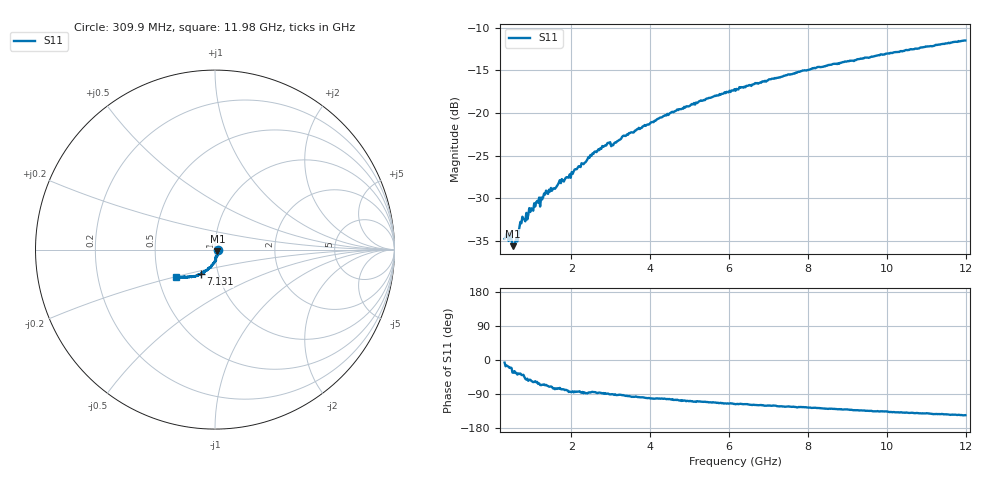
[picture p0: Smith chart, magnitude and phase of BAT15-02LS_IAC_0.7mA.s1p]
! Infineon Technologies  Discrete & RF Semiconductors
! BAT15-02ELS
! IAC = 0.7 mA
! One-Port S-Parameters
# Hz  S  MA  R  50
!f  S11
!Hz  Mag  Ang
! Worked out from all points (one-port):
!   468 points, 309.9 MHz to 11.98 GHz, reference 50 ohm
!   lowest |S11| = -35.6 dB at 509.8 MHz (marker M1), VSWR 1.03, Z = 51.4 - j0.939 ohm
!   |S11| at or under -10 dB: start of sweep to end of sweep
!   S11 on the Smith chart (normalised r, x): 309.9 MHz: 1.04, -0.00; 7.131 GHz: 0.82, -0.23; 11.98 GHz: 0.61, -0.20
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3.0985e8  0.01835 -7.0
4.098e8  0.01781 -17.7
5.0975e8  0.0166 -33.4
5.347375e8  0.0171 -33.5
5.847125e8  0.01776 -34.5
7.346375e8  0.02261 -39.5
8.096e8  0.02378 -44.3
8.59575e8  0.02601 -51.8
9.59525e8  0.02632 -52.1
1.10945e9  0.03006 -58.8
1.259375e9  0.03116 -65.2
1.334338e9  0.03331 -66.7
1.559225e9  0.03628 -74.5
1.70915e9  0.04049 -73.5
1.784112e9  0.04022 -76.9
1.984012e9  0.0418 -84.5
2.583712e9  0.05934 -84.7
2.933538e9  0.06709 -88.6
3.058475e9  0.06486 -90.9
3.233388e9  0.06993 -91.6
3.658175e9  0.08033 -97.2
4.70765e9  0.1043 -106.1
6.156925e9  0.1353 -116.7
7.131438e9  0.159 -120.5
7.6062e9  0.17 -123.5
9.080462e9  0.2027 -131.2
1.052974e10  0.2346 -139.4
1.197901e10  0.2666 -145.6
